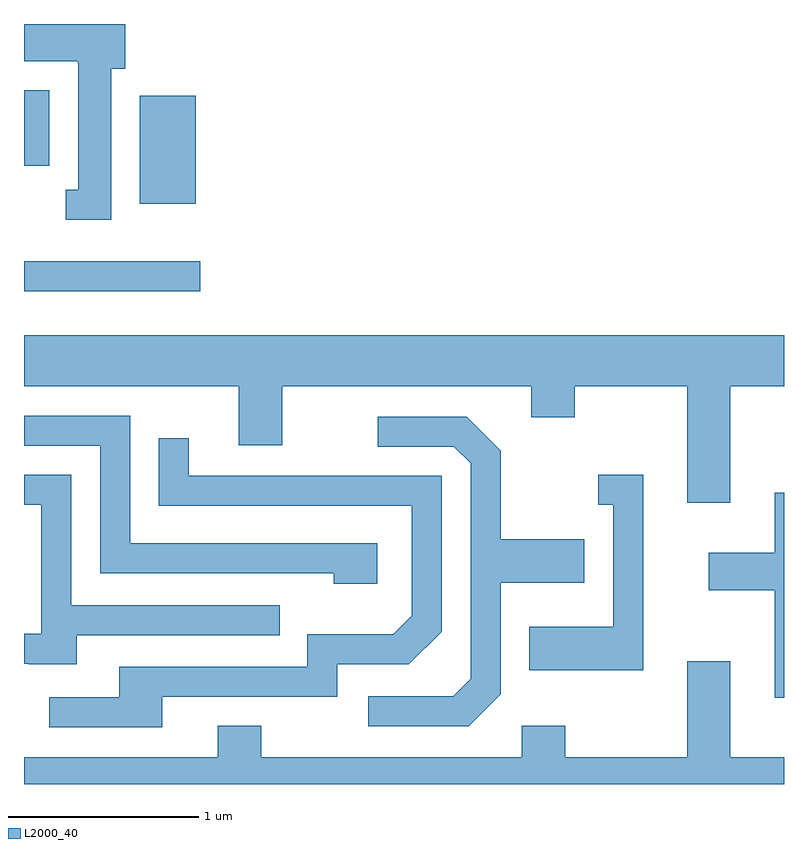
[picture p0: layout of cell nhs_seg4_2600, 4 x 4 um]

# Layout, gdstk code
import gdstk
lib = gdstk.Library(unit=1e-6, precision=1e-09)
def R(c, l, rs):  # rectangles x0, y0, x1, y1
    for r in rs: c.add(gdstk.rectangle(r[:2], r[2:], *l))
def P(c, l, *ps):  # polygons
    for p in ps: c.add(gdstk.Polygon(p, *l))
L2000_40 = (2000, 40)

nhs_seg4_2600 = lib.new_cell('nhs_seg4_2600')
R(nhs_seg4_2600, L2000_40, [(261.611,1288.576,262.538,1288.734), (262.221,1289.036,262.514,1289.604), (261.611,1289.236,261.744,1289.634)])
P(nhs_seg4_2600, L2000_40, [(262.069,1289.746),(262.144,1289.746),(262.144,1289.982),(261.611,1289.982),(261.611,1289.786),(261.89,1289.786),(261.89,1289.78),(261.896,1289.78),(261.896,1289.109),(261.832,1289.109),(261.832,1288.951),(262.069,1288.951)],
  [(265.329,1288.076),(265.611,1288.076),(265.611,1288.344),(261.611,1288.344),(261.611,1288.076),(262.741,1288.076),(262.741,1287.766),(262.969,1287.766),(262.969,1288.076),(264.281,1288.076),(264.281,1287.911),(264.509,1287.911),(264.509,1288.076),(265.101,1288.076),(265.101,1287.461),(265.329,1287.461)],
  [(263.469,1287.249),(262.169,1287.249),(262.169,1287.919),(261.611,1287.919),(261.611,1287.761),(262.011,1287.761),(262.011,1287.091),(263.241,1287.091),(263.241,1287.036),(263.469,1287.036)],
  [(264.119,1286.454),(264.119,1287.041),(264.559,1287.041),(264.559,1287.269),(264.119,1287.269),(264.119,1287.737),(263.942,1287.914),(263.473,1287.914),(263.473,1287.756),(263.874,1287.756),(263.961,1287.669),(263.961,1286.537),(263.869,1286.444),(263.423,1286.444),(263.423,1286.286),(263.952,1286.286)],
  [(262.339,1286.441),(263.259,1286.441),(263.259,1286.611),(263.637,1286.611),(263.809,1286.784),(263.809,1287.604),(262.479,1287.604),(262.479,1287.803),(262.321,1287.803),(262.321,1287.446),(263.651,1287.446),(263.651,1286.867),(263.554,1286.769),(263.101,1286.769),(263.101,1286.599),(262.111,1286.599),(262.111,1286.439),(261.743,1286.439),(261.743,1286.281),(262.339,1286.281)],
  [(264.869,1287.609),(264.633,1287.609),(264.633,1287.451),(264.711,1287.451),(264.711,1286.809),(264.271,1286.809),(264.271,1286.581),(264.869,1286.581)],
  [(261.889,1286.766),(262.958,1286.766),(262.958,1286.924),(261.859,1286.924),(261.859,1287.609),(261.611,1287.609),(261.611,1287.451),(261.701,1287.451),(261.701,1286.774),(261.611,1286.774),(261.611,1286.616),(261.635,1286.616),(261.635,1286.611),(261.889,1286.611)],
  [(265.611,1287.514),(265.561,1287.514),(265.561,1287.199),(265.216,1287.199),(265.216,1287.001),(265.561,1287.001),(265.561,1286.436),(265.611,1286.436)],
  [(265.611,1286.124),(265.329,1286.124),(265.329,1286.629),(265.101,1286.629),(265.101,1286.124),(264.459,1286.124),(264.459,1286.289),(264.231,1286.289),(264.231,1286.124),(262.859,1286.124),(262.859,1286.289),(262.631,1286.289),(262.631,1286.124),(261.611,1286.124),(261.611,1285.982),(265.611,1285.982)])

lib.write_gds('nhs_seg4_2600.gds')
